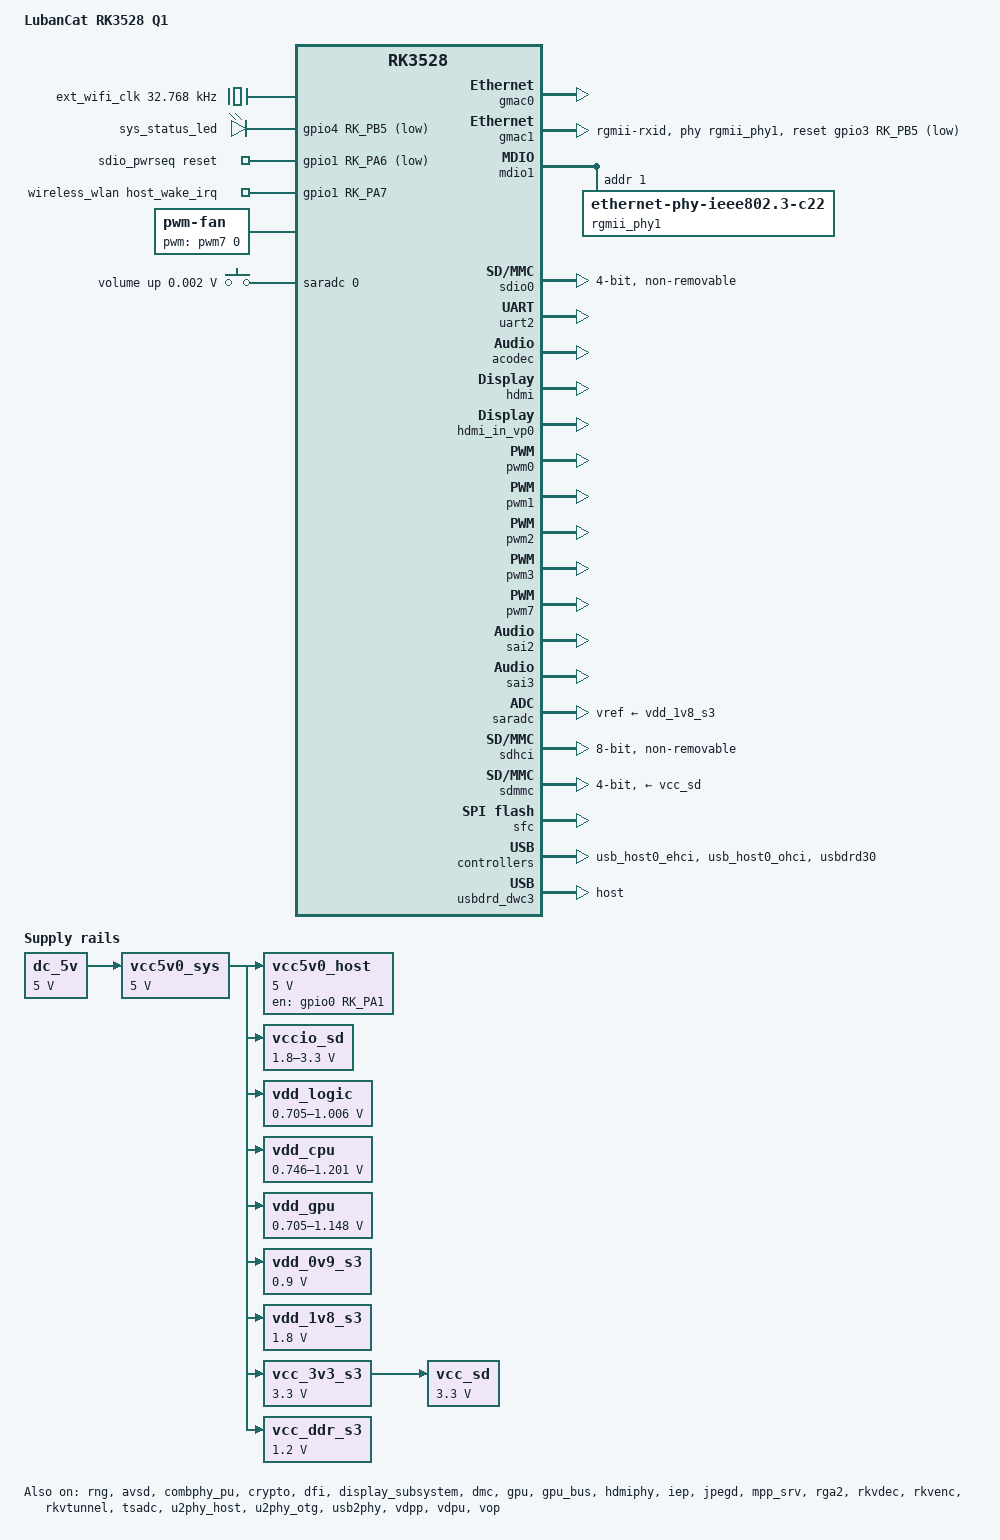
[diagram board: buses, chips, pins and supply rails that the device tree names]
// SPDX-License-Identifier: (GPL-2.0+ OR MIT)
/*
 * Copyright (c) 2022 Rockchip Electronics Co., Ltd.
 *
 */
/dts-v1/;

#include "rk3528.dtsi"
#include <dt-bindings/gpio/gpio.h>
#include <dt-bindings/input/rk-input.h>
#include <dt-bindings/pinctrl/rockchip.h>
#include "rk3528-linux.dtsi"

/ {

	model = "LubanCat RK3528 Q1";
	compatible = "rockchip,lubancat-q1", "rockchip,rk3528";

	chosen: chosen {
		bootargs = "earlycon=uart8250,mmio32,0xff9f0000 console=ttyFIQ0 root=PARTUUID=614e0000-0000 rw rootwait";
	};

	ext_wifi_clk: external-wifi-clock {
		compatible = "fixed-clock";
		#clock-cells = <0>;
		clock-frequency = <32768>;
		clock-output-names = "ext_wifi_clk";
	};

	leds: leds {
		status = "okay";
		compatible = "gpio-leds";

		sys_led: sys-led {
			label = "sys_status_led";
			linux,default-trigger = "heartbeat";
			default-state = "on";
			gpios = <&gpio4 RK_PB5 GPIO_ACTIVE_LOW>;
			pinctrl-names = "default";
			pinctrl-0 = <&sys_led_pin>;
		};
	};

	sdio_pwrseq: sdio-pwrseq {
		compatible = "mmc-pwrseq-simple";
		pinctrl-names = "default";
		pinctrl-0 = <&wifi_enable_h>;
		reset-gpios = <&gpio1 RK_PA6 GPIO_ACTIVE_LOW>;
	};

	wireless_wlan: wireless-wlan {
		compatible = "wlan-platdata";
		rockchip,grf = <&grf>;
		wifi_chip_type = "rtl8189es";
		pinctrl-names = "default";
		clocks = <&ext_wifi_clk>;
		clock-names = "clk_wifi";
		pinctrl-0 = <&wifi_host_wake_irq &clkm1_32k_out>;
		WIFI,host_wake_irq = <&gpio1 RK_PA7 GPIO_ACTIVE_HIGH>;
		status = "okay";
	};

	acodec_sound: acodec-sound {
		status = "okay";
		compatible = "simple-audio-card";
		simple-audio-card,name = "rk3528-acodec";
		simple-audio-card,format = "i2s";
		simple-audio-card,mclk-fs = <256>;
		simple-audio-card,cpu {
			sound-dai = <&sai2>;
		};
		simple-audio-card,codec {
			sound-dai = <&acodec>;
		};
	};

	fan: pwm-fan {
		compatible = "pwm-fan";
		#cooling-cells = <2>;
		pwms = <&pwm7 0 5000 0>;
		cooling-levels = <0 100 150 200 255>;
		rockchip,temp-trips = <
			40000	1
			55000	2
			60000	3
			65000	4
		>;
	};
	
	adc_keys: adc-keys {
		status = "okay";
		compatible = "adc-keys";
		io-channels = <&saradc 0>;
		io-channel-names = "buttons";
		keyup-threshold-microvolt = <1800000>;
		poll-interval = <100>;

		vol-up-key {
			label = "volume up";
			linux,code = <KEY_VOLUMEUP>;
			press-threshold-microvolt = <1750>;
		};
	};

	dc_5v: dc-5v {
		compatible = "regulator-fixed";
		regulator-name = "dc_5v";
		regulator-always-on;
		regulator-boot-on;
		regulator-min-microvolt = <5000000>;
		regulator-max-microvolt = <5000000>;
	};

	hdmi_sound: hdmi-sound {
		compatible = "rockchip,hdmi";
		rockchip,mclk-fs = <128>;
		rockchip,card-name = "rockchip,hdmi";
		rockchip,cpu = <&sai3>;
		rockchip,codec = <&hdmi>;
		rockchip,jack-det;
	};

	pdmics: dummy-codec {
		status = "disabled";
		compatible = "rockchip,dummy-codec";
		#sound-dai-cells = <0>;
	};

	pdm_mic_array: pdm-mic-array {
		status = "disabled";
		compatible = "simple-audio-card";
		simple-audio-card,name = "rockchip,pdm-mic-array";
		simple-audio-card,cpu {
			sound-dai = <&pdm>;
		};
		simple-audio-card,codec {
			sound-dai = <&pdmics>;
		};
	};

	vcc5v0_sys: vcc5v0-sys {
		compatible = "regulator-fixed";
		regulator-name = "vcc5v0_sys";
		regulator-always-on;
		regulator-boot-on;
		regulator-min-microvolt = <5000000>;
		regulator-max-microvolt = <5000000>;
		vin-supply = <&dc_5v>;
	};

	vcc5v0_host: vcc5v0-host-regulator {
		compatible = "regulator-fixed";
		regulator-name = "vcc5v0_host";
		regulator-boot-on;
		regulator-always-on;
		regulator-min-microvolt = <5000000>;
		regulator-max-microvolt = <5000000>;
		enable-active-high;
		gpio = <&gpio0 RK_PA1 GPIO_ACTIVE_HIGH>;
		vin-supply = <&vcc5v0_sys>;
		pinctrl-names = "default";
		pinctrl-0 = <&vcc5v0_host_en>;
	};

	vccio_sd: vccio-sd {
		compatible = "regulator-gpio";
		regulator-name = "vccio_sd";
		regulator-min-microvolt = <1800000>;
		regulator-max-microvolt = <3300000>;
		gpios = <&gpio0 RK_PA0 GPIO_ACTIVE_LOW>;
		vin-supply = <&vcc5v0_sys>;
		states = <1800000 0x1 3300000 0x0>;
	};

	vdd_logic: vdd-logic {
		compatible = "pwm-regulator";
		pwms = <&pwm2 0 5000 1>;
		regulator-name = "vdd_logic";
		regulator-min-microvolt = <705000>;
		regulator-max-microvolt = <1006000>;
		regulator-init-microvolt = <900000>;
		regulator-ramp-delay = <12500>;
		regulator-always-on;
		regulator-boot-on;
		regulator-settling-time-up-us = <250>;
		pwm-supply = <&vcc5v0_sys>;
		status = "okay";
	};

	vdd_cpu: vdd-cpu {
		compatible = "pwm-regulator";
		pwms = <&pwm1 0 5000 1>;
		regulator-name = "vdd_cpu";
		regulator-min-microvolt = <746000>;
		regulator-max-microvolt = <1201000>;
		regulator-init-microvolt = <953000>;
		regulator-ramp-delay = <12500>;
		regulator-always-on;
		regulator-boot-on;
		regulator-settling-time-up-us = <250>;
		pwm-supply = <&vcc5v0_sys>;
		status = "okay";
	};

	vdd_gpu: vdd-gpu {
		compatible = "pwm-regulator";
		pwms = <&pwm0 0 5000 1>;
		regulator-name = "vdd_gpu";
		regulator-min-microvolt = <705000>;
		regulator-max-microvolt = <1148000>;
		regulator-init-microvolt = <900000>;
		regulator-ramp-delay = <12500>;
		regulator-always-on;
		regulator-boot-on;
		regulator-settling-time-up-us = <250>;
		pwm-supply = <&vcc5v0_sys>;
		status = "okay";
	};

	vdd_0v9_s3: vdd-0v9-s3 {
		compatible = "regulator-fixed";
		regulator-name = "vdd_0v9_s3";
		regulator-always-on;
		regulator-boot-on;
		regulator-min-microvolt = <900000>;
		regulator-max-microvolt = <900000>;
		vin-supply = <&vcc5v0_sys>;
	};

	vdd_1v8_s3: vdd-1v8-s3 {
		compatible = "regulator-fixed";
		regulator-name = "vdd_1v8_s3";
		regulator-always-on;
		regulator-boot-on;
		regulator-min-microvolt = <1800000>;
		regulator-max-microvolt = <1800000>;
		vin-supply = <&vcc5v0_sys>;
	};

	vcc_3v3_s3: vcc-3v3-s3 {
		compatible = "regulator-fixed";
		regulator-name = "vcc_3v3_s3";
		regulator-always-on;
		regulator-boot-on;
		regulator-min-microvolt = <3300000>;
		regulator-max-microvolt = <3300000>;
		vin-supply = <&vcc5v0_sys>;
	};

	vcc_sd: vcc-sd {
		compatible = "regulator-fixed";
		regulator-name = "vcc_sd";
		regulator-min-microvolt = <3300000>;
		regulator-max-microvolt = <3300000>;
		vin-supply = <&vcc_3v3_s3>;
	};

	vcc_ddr_s3: vcc-ddr-s3 {
		compatible = "regulator-fixed";
		regulator-name = "vcc_ddr_s3";
		regulator-always-on;
		regulator-boot-on;
		regulator-min-microvolt = <1200000>;
		regulator-max-microvolt = <1200000>;
		vin-supply = <&vcc5v0_sys>;
	};
};

&gmac0 {
	status = "okay";
};

&gmac1 {
	/* Use rgmii-rxid mode to disable rx delay inside Soc */
	phy-mode = "rgmii-rxid";
	clock_in_out = "output";

	snps,reset-gpio = <&gpio3 RK_PB5 GPIO_ACTIVE_LOW>;
	snps,reset-active-low;
	/* Reset time is 20ms, 100ms for rtl8211f */
	snps,reset-delays-us = <0 20000 100000>;

	tx_delay = <0x15>;
	/* rx_delay = <0x3f>; */

	pinctrl-names = "default";
	pinctrl-0 = <&rgmii_miim
		     &rgmii_tx_bus2
		     &rgmii_rx_bus2
		     &rgmii_rgmii_clk
		     &rgmii_rgmii_bus>;

	phy-handle = <&rgmii_phy1>;
	status = "okay";
};

&mdio1 {
	rgmii_phy1: phy@1 {
		compatible = "ethernet-phy-ieee802.3-c22";
		reg = <0x1>;
	};
};

&sdio0 {
	max-frequency = <200000000>;
	no-sd;
	no-mmc;
	supports-sdio;
	bus-width = <4>;
	disable-wp;
	cap-sd-highspeed;
	cap-sdio-irq;
	keep-power-in-suspend;
	non-removable;
	mmc-pwrseq = <&sdio_pwrseq>;
	pinctrl-names = "default";
	pinctrl-0 = <&sdio0_bus4 &sdio0_cmd &sdio0_clk>;
	sd-uhs-sdr104;
	status = "okay";
};

&uart2 {
	status = "okay";
	pinctrl-names = "default";
	pinctrl-0 = <&uart2m1_xfer &uart2m1_ctsn>;
};

&rng {
	status = "okay";
};

&avsd {
	status = "okay";
};

&combphy_pu {
	status = "okay";
};

&cpu0 {
	cpu-supply = <&vdd_cpu>;
};

&crypto {
	status = "okay";
};

&dfi {
	status = "okay";
};

&display_subsystem {
	status = "okay";
};

&dmc {
	center-supply = <&vdd_logic>;
	status = "okay";
};

&acodec {
	status = "okay";
};

&gpu {
	mali-supply = <&vdd_gpu>;
	status = "okay";
};

&gpu_bus {
	bus-supply = <&vdd_logic>;
	status = "okay";
};

&hdmi {
	status = "okay";
};

&hdmi_in_vp0 {
	status = "okay";
};

&hdmiphy {
	status = "okay";
};

&iep {
	status = "okay";
};

&iep_mmu {
	status = "okay";
};

&jpegd {
	status = "okay";
};

&jpegd_mmu {
	status = "okay";
};

&mpp_srv {
	status = "okay";
};

&pwm0 {
	status = "okay";
};

&pwm1 {
	status = "okay";
};

&pwm2 {
	status = "okay";
};

&pwm3 {
	compatible = "rockchip,remotectl-pwm";
	pinctrl-names = "default";
	pinctrl-0 = <&pwm3m0_pins>;
	remote_pwm_id = <3>;
	handle_cpu_id = <1>;
	remote_support_psci = <0>;
	status = "okay";

	ir_key1 {
		rockchip,usercode = <0x4040>;
		rockchip,key_table =
			<0xf2	KEY_REPLY>;
	};
};

&pwm7 {
	pinctrl-0 = <&pwm7m0_pins>;
	status = "okay";
};

&rga2 {
	status = "okay";
};

&rga2_mmu {
	status = "okay";
};

&rkvdec {
	status = "okay";
};

&rkvdec_mmu {
	status = "okay";
};

&rkvenc {
	status = "okay";
};

&rkvenc_mmu {
	status = "okay";
};

&rkvtunnel {
	status = "okay";
};

&rockchip_suspend {
	status = "okay";
	rockchip,sleep-debug-en = <1>;
	rockchip,virtual-poweroff = <1>;
	rockchip,sleep-mode-config = <
		(0
		| RKPM_SLP_ARMPD
		)
	>;
	rockchip,wakeup-config = <
		(0
		| RKPM_CPU0_WKUP_EN
		| RKPM_GPIO_WKUP_EN
		)
	>;
	rockchip,pwm-regulator-config = <
		(0
		| RKPM_PWM0_M0_REGULATOR_EN
		| RKPM_PWM1_M0_REGULATOR_EN
		)
	>;
};

&sai0 {
	pinctrl-0 = <&i2s0m1_lrck &i2s0m1_sclk &i2s0m1_sdi &i2s0m1_sdo>;
	status = "disabled";
};

&sai2 {
	status = "okay";
};

&sai3 {
	status = "okay";
};

&saradc {
	status = "okay";
	vref-supply = <&vdd_1v8_s3>;
};

&sdhci {
	bus-width = <8>;
	no-sd;
	no-sdio;
	non-removable;
	mmc-hs400-1_8v;
	mmc-hs400-enhanced-strobe;
	max-frequency = <200000000>;
	status = "okay";
};

&sdmmc {
	bus-width = <4>;
	cap-mmc-highspeed;
	cap-sd-highspeed;
	disable-wp;
	max-frequency = <150000000>;
	pinctrl-names = "default";
	pinctrl-0 = <&sdmmc_clk &sdmmc_cmd &sdmmc_det &sdmmc_bus4>;
	supports-sd;
	sd-uhs-sdr12;
	sd-uhs-sdr25;
	sd-uhs-sdr50;
	sd-uhs-sdr104;
	vqmmc-supply = <&vccio_sd>;
	vmmc-supply = <&vcc_sd>;
	status = "okay";
};

&sfc {
	status = "okay";
};

&tsadc {
	status = "okay";
};

&u2phy_host {
	phy-supply = <&vcc5v0_host>;
	status = "okay";
};

&u2phy_otg {
	status = "okay";
};

&usb2phy {
	status = "okay";
};

&usb_host0_ehci {
	status = "okay";
};

&usb_host0_ohci {
	status = "okay";
};

&usbdrd30 {
	status = "okay";
};

&usbdrd_dwc3 {
	dr_mode = "host";
	extcon = <&usb2phy>;
	status = "okay";
};

&vdpp {
	status = "okay";
};

&vdpu {
	status = "okay";
};

&vdpu_mmu {
	status = "okay";
};

&vop {
	status = "okay";
};

&vop_mmu {
	status = "okay";
};

&pcie2x1 {
	status = "disabled";
};

&pinctrl {
	usb {
		vcc5v0_host_en: vcc5v0-host-en {
			rockchip,pins = <0 RK_PA1 RK_FUNC_GPIO &pcfg_pull_none>;
		};
	};

	leds {
		sys_led_pin: sys-led-pin {
			rockchip,pins = <4 RK_PB5 RK_FUNC_GPIO &pcfg_pull_none>;
		};
	};

	sdio-pwrseq {
		wifi_enable_h: wifi-enable-h {
			rockchip,pins = <1 RK_PA6 RK_FUNC_GPIO &pcfg_pull_none>;
		};
	};

	wireless-wlan {
		wifi_host_wake_irq: wifi-host-wake-irq {
			rockchip,pins = <1 RK_PA7 RK_FUNC_GPIO &pcfg_pull_down>;
		};
	};
};
